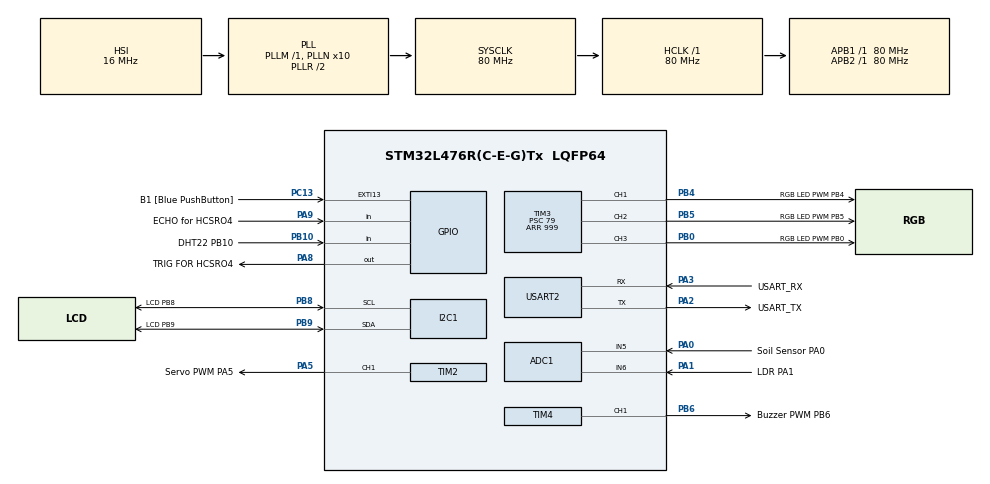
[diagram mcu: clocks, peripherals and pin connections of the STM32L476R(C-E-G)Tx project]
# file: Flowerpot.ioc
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ADC1.Channel-0\#ChannelRegularConversion=ADC_CHANNEL_5
ADC1.NbrOfConversionFlag=1
ADC1.OffsetNumber-0\#ChannelRegularConversion=ADC_OFFSET_NONE
ADC1.Rank-0\#ChannelRegularConversion=1
ADC1.SamplingTime-0\#ChannelRegularConversion=ADC_SAMPLETIME_2CYCLES_5
ADC1.master=1
FREERTOS.Tasks01=defaultTask,24,128,StartDefaultTask,Default,NULL,Dynamic,NULL,NULL
I2C1.Timing=0x10D19CE4
Mcu.Family=STM32L4
Mcu.Name=STM32L476R(C-E-G)Tx
Mcu.Package=LQFP64
NVIC.PriorityGroup=NVIC_PRIORITYGROUP_4
PA0.GPIO_Label=Soil Sensor PA0
PA0.Signal=ADCx_IN5
PA1.GPIO_Label=LDR PA1
PA1.Signal=ADCx_IN6
PA13\ (JTMS-SWDIO).GPIO_Label=TMS
PA13\ (JTMS-SWDIO).Mode=Serial_Wire
PA13\ (JTMS-SWDIO).Signal=SYS_JTMS-SWDIO
PA14\ (JTCK-SWCLK).GPIO_Label=TCK
PA14\ (JTCK-SWCLK).Mode=Serial_Wire
PA14\ (JTCK-SWCLK).Signal=SYS_JTCK-SWCLK
PA2.GPIO_Label=USART_TX
PA2.GPIO_Mode=GPIO_MODE_AF_PP
PA2.GPIO_PuPd=GPIO_NOPULL
PA2.GPIO_Speed=GPIO_SPEED_FREQ_VERY_HIGH
PA2.Mode=Asynchronous
PA2.Signal=USART2_TX
PA3.GPIO_Label=USART_RX
PA3.GPIO_Mode=GPIO_MODE_AF_PP
PA3.GPIO_PuPd=GPIO_NOPULL
PA3.GPIO_Speed=GPIO_SPEED_FREQ_VERY_HIGH
PA3.Mode=Asynchronous
PA3.Signal=USART2_RX
PA5.GPIO_Label=Servo PWM PA5
PA5.Signal=S_TIM2_CH1
PA8.GPIO_Label=TRIG FOR HCSRO4
PA8.Signal=GPIO_Output
PA9.GPIO_Label=ECHO for HCSRO4
PA9.GPIO_PuPd=GPIO_PULLDOWN
PA9.Signal=GPIO_Input
PB0.GPIO_Label=RGB LED PWM PB0
PB0.Signal=S_TIM3_CH3
PB10.GPIO_Label=DHT22 PB10
PB10.Signal=GPIO_Input
PB3\ (JTDO-TRACESWO).GPIO_Label=SWO
PB3\ (JTDO-TRACESWO).Signal=SYS_JTDO-SWO
PB4\ (NJTRST).GPIO_Label=RGB LED PWM PB4
PB4\ (NJTRST).Signal=S_TIM3_CH1
PB5.GPIO_Label=RGB LED PWM PB5
PB5.Signal=S_TIM3_CH2
PB6.GPIO_Label=Buzzer PWM PB6
PB6.Signal=S_TIM4_CH1
PB8.GPIO_Label=LCD PB8
PB8.Mode=I2C
PB8.Signal=I2C1_SCL
PB9.GPIO_Label=LCD PB9
PB9.Mode=I2C
PB9.Signal=I2C1_SDA
PC13.GPIO_Label=B1 [Blue PushButton]
PC13.GPIO_ModeDefaultEXTI=GPIO_MODE_IT_FALLING
PC13.GPIO_PuPd=GPIO_NOPULL
PC13.Signal=GPXTI13
PC14-OSC32_IN\ (PC14).Mode=LSE-External-Oscillator
PC14-OSC32_IN\ (PC14).Signal=RCC_OSC32_IN
PC15-OSC32_OUT\ (PC15).Mode=LSE-External-Oscillator
PC15-OSC32_OUT\ (PC15).Signal=RCC_OSC32_OUT
PH0-OSC_IN\ (PH0).Signal=RCC_OSC_IN
PH1-OSC_OUT\ (PH1).Signal=RCC_OSC_OUT
ProjectManager.HeapSize=0x200
ProjectManager.StackSize=0x400
ProjectManager.TargetToolchain=STM32CubeIDE
RCC.ADCFreq_Value=64000000
RCC.AHBFreq_Value=80000000
RCC.APB1Freq_Value=80000000
RCC.APB1TimFreq_Value=80000000
RCC.APB2Freq_Value=80000000
RCC.APB2TimFreq_Value=80000000
RCC.CortexFreq_Value=80000000
RCC.HCLKFreq_Value=80000000
RCC.HSE_VALUE=8000000
RCC.HSI_VALUE=16000000
RCC.MSI_VALUE=4000000
RCC.PLLN=10
RCC.PLLSourceVirtual=RCC_PLLSOURCE_HSI
RCC.PREFETCH_ENABLE=1
RCC.SYSCLKFreq_VALUE=80000000
RCC.SYSCLKSource=RCC_SYSCLKSOURCE_PLLCLK
RCC.USBFreq_Value=64000000
RCC.VCOOutputFreq_Value=160000000
SH.ADCx_IN5.0=ADC1_IN5,IN5-Single-Ended
SH.ADCx_IN6.0=ADC2_IN6
SH.ADCx_IN6.1=ADC1_IN6,IN6-Single-Ended
SH.S_TIM2_CH1.0=TIM2_CH1,PWM Generation1 CH1
SH.S_TIM3_CH1.0=TIM3_CH1,PWM Generation1 CH1
SH.S_TIM3_CH2.0=TIM3_CH2,PWM Generation2 CH2
SH.S_TIM3_CH3.0=TIM3_CH3,PWM Generation3 CH3
SH.S_TIM4_CH1.0=TIM4_CH1,PWM Generation1 CH1
TIM2.Channel-PWM\ Generation1\ CH1=TIM_CHANNEL_1
TIM2.Period=19999
TIM2.Prescaler=79
TIM3.Channel-PWM\ Generation1\ CH1=TIM_CHANNEL_1
TIM3.Channel-PWM\ Generation2\ CH2=TIM_CHANNEL_2
TIM3.Channel-PWM\ Generation3\ CH3=TIM_CHANNEL_3
TIM3.Period=999
TIM3.Prescaler=79
TIM4.Channel-PWM\ Generation1\ CH1=TIM_CHANNEL_1
TIM4.Period=499
TIM4.Prescaler=79
USART2.VirtualMode-Asynchronous=VM_ASYNC
VP_FREERTOS_VS_CMSIS_V2.Mode=CMSIS_V2
board=NUCLEO-L476RG

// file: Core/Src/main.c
/* USER CODE BEGIN Header */
/**
  ******************************************************************************
  * @file           : main.c
  * @brief          : Main program body
  ******************************************************************************
  * @attention
  *
  * Copyright (c) 2025 STMicroelectronics.
  * All rights reserved.
  *
  * This software is licensed under terms that can be found in the LICENSE file
  * in the root directory of this software component.
  * If no LICENSE file comes with this software, it is provided AS-IS.
  *
  ******************************************************************************
  */
/* USER CODE END Header */
#include "main.h"
#include "cmsis_os.h"
#include "adc.h"
#include "i2c.h"
#include "tim.h"
#include "usart.h"
#include "gpio.h"

void SystemClock_Config(void);
void MX_FREERTOS_Init(void);

/* USER CODE BEGIN 0 */
// === Globals ===

#define MOISTURE_DRY_RAW   3000.0f
#define MOISTURE_WET_RAW   1500.0f

#define SERVO_MIN_PULSE    1000  // 1 ms
#define SERVO_MAX_PULSE    2000  // 2 ms
#define LCD_ADDR   (0x27 << 1)
#define LCD_BACKLIGHT 0x08
#define LCD_ENABLE    0x04
#define LCD_RS        0x01

#define DHT_MIN_INTERVAL_MS 2000

uint16_t ADC_ReadChannel(uint32_t channel);
uint8_t  Moisture_GetPercent(void);
void     Servo_SetAngle(uint8_t angle);
void     RGB_Set(uint8_t r, uint8_t g, uint8_t b);
void     Buzzer_On(void);
void     Buzzer_Off(void);

void LCD_Init(void);
void LCD_Clear(void);
void LCD_SetCursor(uint8_t col, uint8_t row);
void LCD_Print(uint8_t col, uint8_t row, const char *s);

void     DWT_Init(void);
uint32_t micros(void);
void     delay_us(uint32_t us);

// Ultrasonic
float Ultrasonic_GetDistance_cm(void);

// DHT22
typedef struct {
    float temperature;
    float humidity;
    uint8_t ok;
} DHT_Data;

DHT_Data DHT_Read(void);

// UART printf buffer
char uart_buf[128];

/* USER CODE END 0 */

int main(void)
{

  /* MCU Configuration--------------------------------------------------------*/

  /* Reset of all peripherals, Initializes the Flash interface and the Systick. */
  HAL_Init();

  /* Configure the system clock */
  SystemClock_Config();

  /* Initialize all configured peripherals */
  MX_GPIO_Init();
  MX_USART2_UART_Init();
  MX_ADC1_Init();
  MX_I2C1_Init();
  MX_TIM2_Init();
  MX_TIM3_Init();
  MX_TIM4_Init();
  /* USER CODE BEGIN 2 */
	LCD_Init();
	LCD_Clear();

   // Start PWM timers
   HAL_TIM_PWM_Start(&htim2, TIM_CHANNEL_1); // Servo
   HAL_TIM_PWM_Start(&htim3, TIM_CHANNEL_1); // RGB R
   HAL_TIM_PWM_Start(&htim3, TIM_CHANNEL_2); // RGB G
   HAL_TIM_PWM_Start(&htim3, TIM_CHANNEL_3); // RGB B
   HAL_TIM_PWM_Start(&htim4, TIM_CHANNEL_1); // Buzzer

   // Enable DWT for microsecond timing
   DWT_Init();

   // Init LCD

   LCD_Print(0, 0, "SMART FLOWERPOT");

   // Initial actuator states
   Servo_SetAngle(0);
   RGB_Set(0, 255, 0);
   Buzzer_Off();

   // DHT timing
   uint32_t last_dht_ms = 0;
   DHT_Data dht = {0};

   char line[17];

  /* USER CODE END 2 */

  /* Init scheduler */
  osKernelInitialize();  /* Call init function for freertos objects (in cmsis_os2.c) */
  MX_FREERTOS_Init();

  /* Start scheduler */
  osKernelStart();

  /* We should never get here as control is now taken by the scheduler */

  /* Infinite loop */
  while (1)
  {

    /* USER CODE BEGIN 3 */

	  // Time now

  }
  /* USER CODE END 3 */
}

void SystemClock_Config(void)
{
  RCC_OscInitTypeDef RCC_OscInitStruct = {0};
  RCC_ClkInitTypeDef RCC_ClkInitStruct = {0};

  /** Configure the main internal regulator output voltage
  */
  if (HAL_PWREx_ControlVoltageScaling(PWR_REGULATOR_VOLTAGE_SCALE1) != HAL_OK)
  {
    Error_Handler();
  }

  /** Initializes the RCC Oscillators according to the specified parameters
  * in the RCC_OscInitTypeDef structure.
  */
  RCC_OscInitStruct.OscillatorType = RCC_OSCILLATORTYPE_HSI;
  RCC_OscInitStruct.HSIState = RCC_HSI_ON;
  RCC_OscInitStruct.HSICalibrationValue = RCC_HSICALIBRATION_DEFAULT;
  RCC_OscInitStruct.PLL.PLLState = RCC_PLL_ON;
  RCC_OscInitStruct.PLL.PLLSource = RCC_PLLSOURCE_HSI;
  RCC_OscInitStruct.PLL.PLLM = 1;
  RCC_OscInitStruct.PLL.PLLN = 10;
  RCC_OscInitStruct.PLL.PLLP = RCC_PLLP_DIV7;
  RCC_OscInitStruct.PLL.PLLQ = RCC_PLLQ_DIV2;
  RCC_OscInitStruct.PLL.PLLR = RCC_PLLR_DIV2;
  if (HAL_RCC_OscConfig(&RCC_OscInitStruct) != HAL_OK)
  {
    Error_Handler();
  }

  /** Initializes the CPU, AHB and APB buses clocks
  */
  RCC_ClkInitStruct.ClockType = RCC_CLOCKTYPE_HCLK|RCC_CLOCKTYPE_SYSCLK
                              |RCC_CLOCKTYPE_PCLK1|RCC_CLOCKTYPE_PCLK2;
  RCC_ClkInitStruct.SYSCLKSource = RCC_SYSCLKSOURCE_PLLCLK;
  RCC_ClkInitStruct.AHBCLKDivider = RCC_SYSCLK_DIV1;
  RCC_ClkInitStruct.APB1CLKDivider = RCC_HCLK_DIV1;
  RCC_ClkInitStruct.APB2CLKDivider = RCC_HCLK_DIV1;

  if (HAL_RCC_ClockConfig(&RCC_ClkInitStruct, FLASH_LATENCY_4) != HAL_OK)
  {
    Error_Handler();
  }
}

/* USER CODE BEGIN 4 */
int _write(int file, char *ptr, int len)
{
    HAL_UART_Transmit(&huart2, (uint8_t*)ptr, len, HAL_MAX_DELAY);
    return len;
}

// ----- ADC + moisture -----

uint16_t ADC_ReadChannel(uint32_t channel)
{
    ADC_ChannelConfTypeDef sConfig = {0};

    sConfig.Channel      = channel;
    sConfig.Rank         = ADC_REGULAR_RANK_1;
    sConfig.SamplingTime = ADC_SAMPLETIME_47CYCLES_5;
    sConfig.SingleDiff   = ADC_SINGLE_ENDED;
    sConfig.OffsetNumber = ADC_OFFSET_NONE;
    sConfig.Offset       = 0;

    HAL_ADC_ConfigChannel(&hadc1, &sConfig);

    HAL_ADC_Start(&hadc1);
    HAL_ADC_PollForConversion(&hadc1, 10);
    uint16_t value = HAL_ADC_GetValue(&hadc1);
    HAL_ADC_Stop(&hadc1);

    return value;
}

uint8_t Moisture_GetPercent(void)
{
    uint16_t raw = ADC_ReadChannel(ADC_CHANNEL_5);  // PA0

    float percent = 100.0f -
        ((raw - MOISTURE_WET_RAW) / (MOISTURE_DRY_RAW - MOISTURE_WET_RAW) * 100.0f);

    if (percent < 0)   percent = 0;
    if (percent > 100) percent = 100;

    return (uint8_t)percent;
}

// ----- Servo / RGB / Buzzer -----

void Servo_SetAngle(uint8_t angle)
{
    if (angle > 180) angle = 180;

    uint32_t pulse = SERVO_MIN_PULSE +
        (SERVO_MAX_PULSE - SERVO_MIN_PULSE) * angle / 180;

    __HAL_TIM_SET_COMPARE(&htim2, TIM_CHANNEL_1, pulse);
}

void RGB_Set(uint8_t r, uint8_t g, uint8_t b)
{
    // scale 0–255 to 0–999 (TIM3 period)
    __HAL_TIM_SET_COMPARE(&htim3, TIM_CHANNEL_1, r * 4);
    __HAL_TIM_SET_COMPARE(&htim3, TIM_CHANNEL_2, g * 4);
    __HAL_TIM_SET_COMPARE(&htim3, TIM_CHANNEL_3, b * 4);
}

void Buzzer_On(void)
{
    __HAL_TIM_SET_COMPARE(&htim4, TIM_CHANNEL_1, 250); // 50% duty
}

void Buzzer_Off(void)
{
    __HAL_TIM_SET_COMPARE(&htim4, TIM_CHANNEL_1, 0);
}

// ----- DWT microsecond timing -----

void DWT_Init(void)
{
    CoreDebug->DEMCR |= CoreDebug_DEMCR_TRCENA_Msk;
    DWT->CYCCNT = 0;
    DWT->CTRL |= DWT_CTRL_CYCCNTENA_Msk;
}

uint32_t micros(void)
{
    return DWT->CYCCNT / (SystemCoreClock / 1000000U);
}

void delay_us(uint32_t us)
{
    uint32_t start = micros();
    while ((micros() - start) < us) {
        // busy wait
    }
}

// ----- Ultrasonic (HC-SR04) -----

float Ultrasonic_GetDistance_cm(void)
{
    // Send 10us trigger pulse
    HAL_GPIO_WritePin(TRIG_FOR_HCSRO4_GPIO_Port, TRIG_FOR_HCSRO4_Pin, GPIO_PIN_RESET);
    delay_us(2);
    HAL_GPIO_WritePin(TRIG_FOR_HCSRO4_GPIO_Port, TRIG_FOR_HCSRO4_Pin, GPIO_PIN_SET);
    delay_us(10);
    HAL_GPIO_WritePin(TRIG_FOR_HCSRO4_GPIO_Port, TRIG_FOR_HCSRO4_Pin, GPIO_PIN_RESET);

    // Wait for echo to go high (start), with timeout
    uint32_t start = micros();
    while (HAL_GPIO_ReadPin(ECHO_for_HCSRO4_GPIO_Port, ECHO_for_HCSRO4_Pin) == GPIO_PIN_RESET) {
        if ((micros() - start) > 30000) { // 30 ms timeout
            return -1.0f;
        }
    }

    // Measure high time
    uint32_t echo_start = micros();
    while (HAL_GPIO_ReadPin(ECHO_for_HCSRO4_GPIO_Port, ECHO_for_HCSRO4_Pin) == GPIO_PIN_SET) {
        if ((micros() - echo_start) > 30000) {
            return -1.0f;
        }
    }
    uint32_t echo_end = micros();
    uint32_t pulse_width_us = echo_end - echo_start;

    // Distance (cm) = (time_us / 2) / 29.1
    float distance = (pulse_width_us / 2.0f) / 29.1f;
    return distance;
}

// ----- DHT22 sensor -----

static void DHT_PinOutput(void)
{
    GPIO_InitTypeDef GPIO_InitStruct = {0};
    GPIO_InitStruct.Pin = DHT22_PB10_Pin;
    GPIO_InitStruct.Mode = GPIO_MODE_OUTPUT_OD;
    GPIO_InitStruct.Pull = GPIO_PULLUP;
    GPIO_InitStruct.Speed = GPIO_SPEED_FREQ_LOW;
    HAL_GPIO_Init(DHT22_PB10_GPIO_Port, &GPIO_InitStruct);
}

static void DHT_PinInput(void)
{
    GPIO_InitTypeDef GPIO_InitStruct = {0};
    GPIO_InitStruct.Pin = DHT22_PB10_Pin;
    GPIO_InitStruct.Mode = GPIO_MODE_INPUT;
    GPIO_InitStruct.Pull = GPIO_PULLUP;
    HAL_GPIO_Init(DHT22_PB10_GPIO_Port, &GPIO_InitStruct);
}

DHT_Data DHT_Read(void)
{
    DHT_Data data = {0};

    uint8_t bits[5] = {0};
    uint32_t t;

    // 1) Start signal for DHT11:
    // Pull low for at least 18 ms, then high for 20–40 µs
    DHT_PinOutput();
    HAL_GPIO_WritePin(DHT22_PB10_GPIO_Port, DHT22_PB10_Pin, GPIO_PIN_RESET);
    HAL_Delay(20);  // 20 ms
    HAL_GPIO_WritePin(DHT22_PB10_GPIO_Port, DHT22_PB10_Pin, GPIO_PIN_SET);
    delay_us(30);
    DHT_PinInput();

    // 2) Wait for DHT response: low (~80us) then high (~80us)
    t = micros();
    while (HAL_GPIO_ReadPin(DHT22_PB10_GPIO_Port, DHT22_PB10_Pin) == GPIO_PIN_SET) {
        if ((micros() - t) > 1000) return data; // no response
    }
    t = micros();
    while (HAL_GPIO_ReadPin(DHT22_PB10_GPIO_Port, DHT22_PB10_Pin) == GPIO_PIN_RESET) {
        if ((micros() - t) > 1000) return data;
    }
    t = micros();
    while (HAL_GPIO_ReadPin(DHT22_PB10_GPIO_Port, DHT22_PB10_Pin) == GPIO_PIN_SET) {
        if ((micros() - t) > 1000) return data;
    }

    // 3) Read 40 bits
    for (int i = 0; i < 40; i++) {
        // wait for line to go high
        t = micros();
        while (HAL_GPIO_ReadPin(DHT22_PB10_GPIO_Port, DHT22_PB10_Pin) == GPIO_PIN_RESET) {
            if ((micros() - t) > 1000) return data;
        }

        // measure length of the high pulse
        uint32_t start = micros();
        while (HAL_GPIO_ReadPin(DHT22_PB10_GPIO_Port, DHT22_PB10_Pin) == GPIO_PIN_SET) {
            if ((micros() - start) > 1000) break;
        }
        uint32_t width = micros() - start;

        int byte = i / 8;
        bits[byte] <<= 1;

        // DHT11: short high (~26-28us) = 0, long high (~70us) = 1
        if (width > 50) {   // threshold ~50us
            bits[byte] |= 1;
        }
    }

    // 4) Check checksum
    uint8_t sum = bits[0] + bits[1] + bits[2] + bits[3];
    if ((sum & 0xFF) != bits[4]) {
        return data; // checksum error, data.ok stays 0
    }

    // 5) Convert to DHT11 values
    float hum  = bits[0] + bits[1] / 10.0f;
    float temp = bits[2] + bits[3] / 10.0f;

    // Basic sanity check for DHT11 range
    data.ok = 0;
    if (hum >= 0.0f && hum <= 100.0f &&
        temp >= 0.0f && temp <= 50.0f) {
        data.humidity    = hum;
        data.temperature = temp;
        data.ok          = 1;
    }

    return data;
}

// ----- LCD (I2C) -----

static void LCD_SendNibble(uint8_t nibble, uint8_t rs)
{
    uint8_t data = (nibble << 4) | LCD_BACKLIGHT;
    if (rs) data |= LCD_RS;

    uint8_t buf = data | LCD_ENABLE;
    HAL_I2C_Master_Transmit(&hi2c1, LCD_ADDR, &buf, 1, 10);

    // brief delay
    for (volatile int i = 0; i < 500; i++);

    buf = data & ~LCD_ENABLE;
    HAL_I2C_Master_Transmit(&hi2c1, LCD_ADDR, &buf, 1, 10);
}

static void LCD_SendByte(uint8_t value, uint8_t rs)
{
    LCD_SendNibble(value >> 4, rs);
    LCD_SendNibble(value & 0x0F, rs);
}

static void LCD_Command(uint8_t cmd)
{
    LCD_SendByte(cmd, 0);
}

static void LCD_Data(uint8_t data)
{
    LCD_SendByte(data, 1);
}

void LCD_Init(void)
{
    HAL_Delay(50);

    // Init sequence for 4-bit mode
    LCD_SendNibble(0x03, 0);
    HAL_Delay(5);
    LCD_SendNibble(0x03, 0);
    HAL_Delay(5);
    LCD_SendNibble(0x03, 0);
    HAL_Delay(5);
    LCD_SendNibble(0x02, 0); // 4-bit

    LCD_Command(0x28); // 4-bit, 2 lines, 5x8
    LCD_Command(0x0C); // display on, cursor off
    LCD_Command(0x06); // entry mode
    LCD_Command(0x01); // clear
    HAL_Delay(2);
}

void LCD_Clear(void)
{
    LCD_Command(0x01);
    HAL_Delay(2);
}

void LCD_SetCursor(uint8_t col, uint8_t row)
{
    static const uint8_t row_offsets[] = {0x00, 0x40};
    if (row > 1) row = 1;
    LCD_Command(0x80 | (col + row_offsets[row]));
}

void LCD_Print(uint8_t col, uint8_t row, const char *s)
{
    LCD_SetCursor(col, row);
    while (*s) {
        LCD_Data((uint8_t)*s++);
    }
}
/* USER CODE END 4 */

void Error_Handler(void)
{
  __disable_irq();
  while (1)
  {
  }
}

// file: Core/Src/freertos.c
/* USER CODE BEGIN Header */
/**
  ******************************************************************************
  * File Name          : freertos.c
  * Description        : Code for freertos applications
  ******************************************************************************
  * @attention
  *
  * Copyright (c) 2025 STMicroelectronics.
  * All rights reserved.
  *
  * This software is licensed under terms that can be found in the LICENSE file
  * in the root directory of this software component.
  * If no LICENSE file comes with this software, it is provided AS-IS.
  *
  ******************************************************************************
  */
/* USER CODE END Header */

#include "FreeRTOS.h"
#include "task.h"
#include "main.h"
#include "cmsis_os.h"
#include <stdio.h>
#include <string.h>

/* USER CODE BEGIN Includes */
extern uint16_t ADC_ReadChannel(uint32_t channel);
extern uint8_t Moisture_GetPercent(void);
typedef struct {
    float temperature;
    float humidity;
    uint8_t ok;
} DHT_Data;
extern DHT_Data DHT_Read(void);
osMutexId_t lcdMutex;
extern float Ultrasonic_GetDistance_cm(void);

extern void Servo_SetAngle(uint8_t angle);
extern void RGB_Set(uint8_t r, uint8_t g, uint8_t b);
extern void Buzzer_On(void);
extern void Buzzer_Off(void);

extern void LCD_Print(uint8_t col, uint8_t row, const char* s);
extern void LCD_Clear(void);

/* USER CODE END Includes */

/* USER CODE BEGIN PTD */
/* USER CODE BEGIN PTD */

/* USER CODE END PTD */

/* USER CODE END PTD */

/* USER CODE BEGIN PD */
#define DHT_MIN_INTERVAL_MS   2000
/* USER CODE END PD */

/* USER CODE BEGIN Variables */
uint16_t g_rawMoist = 0;
uint16_t g_rawLight = 0;
uint8_t  g_moistPct = 0;
DHT_Data g_dht;
float    g_distance_cm = 0;

/* USER CODE END Variables */
/* Definitions for defaultTask */
osThreadId_t defaultTaskHandle;
const osThreadAttr_t defaultTask_attributes = {
  .name = "defaultTask",
  .stack_size = 128 * 4,
  .priority = (osPriority_t) osPriorityNormal,
};
osThreadId_t SensorTaskHandle;
const osThreadAttr_t SensorTask_attributes = {
  .name = "SensorTask",
  .stack_size = 256 * 4,
  .priority = (osPriority_t) osPriorityNormal,
};

/* Definitions for ControlTask */
osThreadId_t ControlTaskHandle;
const osThreadAttr_t ControlTask_attributes = {
  .name = "ControlTask",
  .stack_size = 256 * 4,
  .priority = (osPriority_t) osPriorityAboveNormal,
};

/* Definitions for LCDTask */
osThreadId_t LCDTaskHandle;
const osThreadAttr_t LCDTask_attributes = {
  .name = "LCDTask",
  .stack_size = 256 * 4,
  .priority = (osPriority_t) osPriorityNormal,
};

/* USER CODE BEGIN FunctionPrototypes */
void StartSensorTask(void *argument);
void StartControlTask(void *argument);
void StartLCDTask(void *argument);

/* USER CODE END FunctionPrototypes */

void StartDefaultTask(void *argument);

void MX_FREERTOS_Init(void); /* (MISRA C 2004 rule 8.1) */

void MX_FREERTOS_Init(void) {

  /* Create the thread(s) */
  /* creation of defaultTask */
	/* USER CODE BEGIN Init */
	LCD_Init();
	LCD_Clear();

	/* USER CODE END Init */

	SensorTaskHandle  = osThreadNew(StartSensorTask,  NULL, &SensorTask_attributes);
	ControlTaskHandle = osThreadNew(StartControlTask, NULL, &ControlTask_attributes);
	LCDTaskHandle     = osThreadNew(StartLCDTask,     NULL, &LCDTask_attributes);

}

void StartDefaultTask(void *argument)
{
  for(;;)
  {
    osDelay(1);
  }
}

/* USER CODE BEGIN Application */
/* Definitions for SensorTask */
osThreadId_t SensorTaskHandle;

void StartSensorTask(void *argument)
{
    uint32_t lastDHT = 0;

    for(;;)
    {
        g_rawMoist = ADC_ReadChannel(ADC_CHANNEL_5);
        g_rawLight = ADC_ReadChannel(ADC_CHANNEL_6);
        g_moistPct = Moisture_GetPercent();

        if (osKernelGetTickCount() - lastDHT >= DHT_MIN_INTERVAL_MS) {
            g_dht = DHT_Read();
            lastDHT = osKernelGetTickCount();
        }

        g_distance_cm = Ultrasonic_GetDistance_cm();

        printf("Moist:%d%% Light:%u T:%d H:%d Dist:%d\r\n",
               g_moistPct, g_rawLight,
               (int)g_dht.temperature, (int)g_dht.humidity,
               (int)g_distance_cm);

        osDelay(1000);  // Read sensors every 1s
    }
}

void StartControlTask(void *argument)
{
  for(;;)
  {
    /* Soil moisture -> Servo + RGB */
    if (g_moistPct < 30) {
        Servo_SetAngle(90);
        RGB_Set(0, 0, 255);
    } else if (g_moistPct > 70) {
        Servo_SetAngle(0);
        RGB_Set(0, 255, 0);
    } else {
        Servo_SetAngle(45);
        RGB_Set(255, 255, 0);
    }

    /* Ultrasonic -> Buzzer */
    if (g_distance_cm > 5 ) {
        Buzzer_On();
        osDelay(100);
        Buzzer_Off();
    } else {
        Buzzer_Off();
    }

    osDelay(100);   // 10Hz control loop
  }
}

void StartLCDTask(void *argument)
{
    char line1[17];
    char line2[17];

    // Initialize LCD safely here
    LCD_Init();
    LCD_Clear();

    // Create a mutex for LCD access
    lcdMutex = osMutexNew(NULL);

    for(;;)
    {
        if (g_dht.ok) {
            snprintf(line1, sizeof(line1), "T:%2dC H:%2d%%",
                     (int)g_dht.temperature,
                     (int)g_dht.humidity);
        } else {
            snprintf(line1, sizeof(line1), "T:NA H:NA");
        }

        snprintf(line2, sizeof(line2), "M:%3d%% L:%4u",
                 g_moistPct,
                 g_rawLight);

        // Take mutex before using LCD
        if(osMutexAcquire(lcdMutex, 10) == osOK)
        {
            LCD_Clear();
            LCD_Print(0, 0, line1);
            LCD_Print(0, 1, line2);
            osMutexRelease(lcdMutex);
        }

        osDelay(1000); // Update every 1s
    }
}

/* USER CODE END Application */
